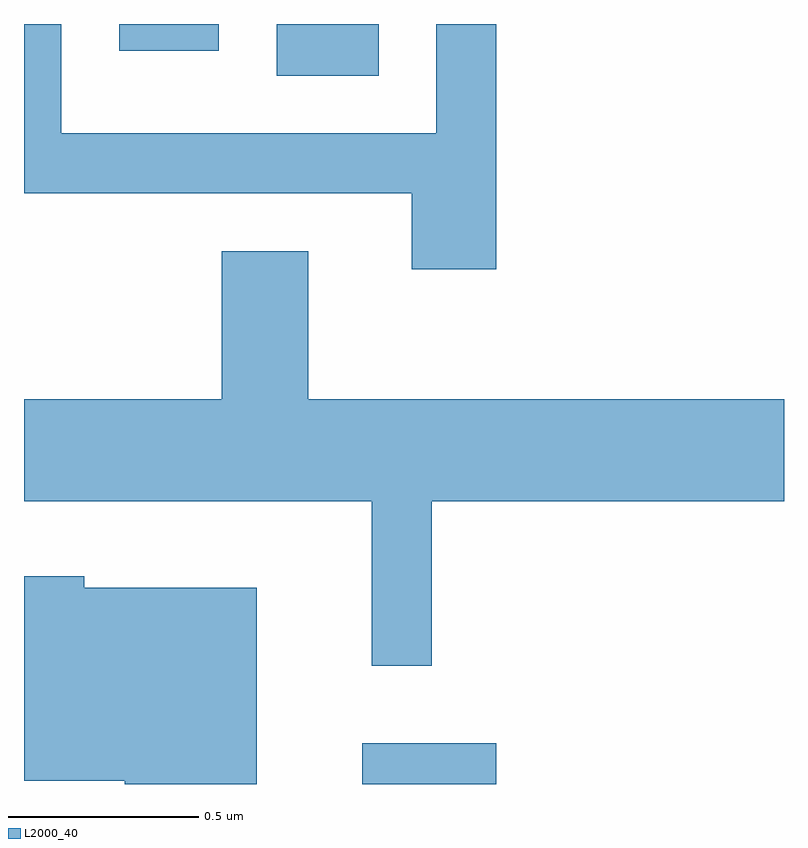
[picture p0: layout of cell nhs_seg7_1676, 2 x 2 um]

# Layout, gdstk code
import gdstk
lib = gdstk.Library(unit=1e-6, precision=1e-09)
def R(c, l, rs):  # rectangles x0, y0, x1, y1
    for r in rs: c.add(gdstk.rectangle(r[:2], r[2:], *l))
def P(c, l, *ps):  # polygons
    for p in ps: c.add(gdstk.Polygon(p, *l))
L2000_40 = (2000, 40)

nhs_seg7_1676 = lib.new_cell('nhs_seg7_1676')
R(nhs_seg7_1676, L2000_40, [(198.501,1700.252,198.854,1700.359), (198.276,1702.116,198.544,1702.252), (197.861,1702.181,198.124,1702.252)])
P(nhs_seg7_1676, L2000_40, [(198.854,1702.252),(198.696,1702.252),(198.696,1701.964),(197.709,1701.964),(197.709,1702.252),(197.611,1702.252),(197.611,1701.806),(198.631,1701.806),(198.631,1701.606),(198.854,1701.606)],
  [(198.684,1700.996),(199.611,1700.996),(199.611,1701.264),(198.359,1701.264),(198.359,1701.654),(198.131,1701.654),(198.131,1701.264),(197.611,1701.264),(197.611,1700.996),(198.526,1700.996),(198.526,1700.563),(198.684,1700.563)],
  [(198.224,1700.769),(197.769,1700.769),(197.769,1700.799),(197.611,1700.799),(197.611,1700.261),(197.876,1700.261),(197.876,1700.252),(198.224,1700.252)])

lib.write_gds('nhs_seg7_1676.gds')
